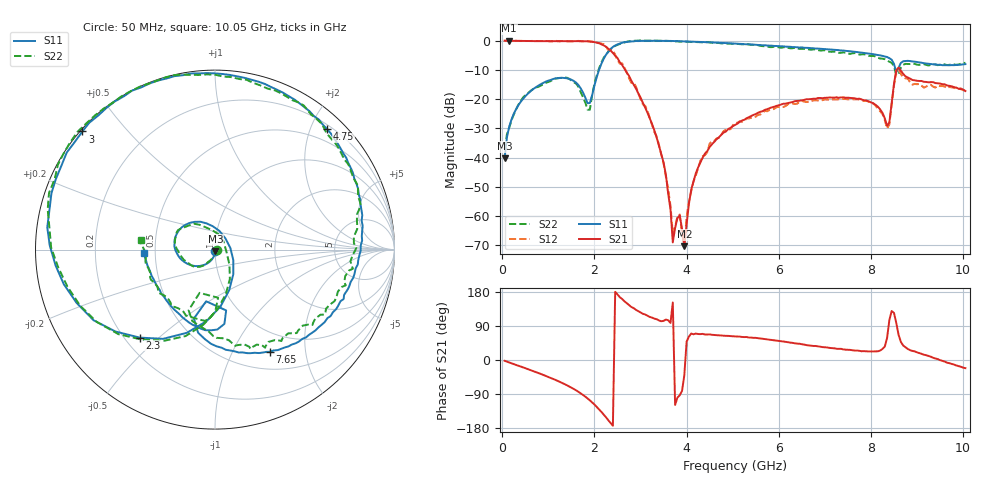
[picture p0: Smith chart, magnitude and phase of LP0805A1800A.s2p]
! AVX THIN FILM OPERATION
! 0805 Size Low Pass Filter P/N  LP0805A1800AWTR
! Network Analyzer HP8720ES.07.64: Feb 23, 2000 Serial No. US39172382
! Hewlett-Packard
!  2 Feb 2003  04:07:16
! Frequency  S11  S21  S12  S22
# HZ  S  DB R  50
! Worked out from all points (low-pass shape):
!   201 points, 50 MHz to 10.05 GHz, reference 50 ohm
!   highest |S21| = -0.02 dB at 150 MHz (marker M1); lowest = -70.3 dB at 3.95 GHz (marker M2)
!   |S21| within 3 dB of the highest: start of sweep to 2.322 GHz
!   lowest |S11| = -40.2 dB at 50 MHz (marker M3), VSWR 1.02, Z = 50.2 - j0.96 ohm
!   |S11| at or under -10 dB: start of sweep to 2.099 GHz; 8.537583 GHz to 8.573984 GHz (36.4 MHz wide, 0.425 % of centre)
!   |S22| runs from -37.1 to 0.1 dB; largest |S21 - S12| = 0.059
!   S11 on the Smith chart (normalised r, x): 50 MHz: 1.00, -0.02; 2.3 GHz: 0.26, -0.43; 3 GHz: 0.01, +0.38; 4.75 GHz: 0.27, +2.27; 7.65 GHz: 0.72, -1.41; 10.05 GHz: 0.43, -0.02
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5e7  -40.24 -79.6  -0.02 -2.1  -0.01 -2.2  -37.15 -12.7
1.5e8  -29.41 -97.7  -0.02 -6.6  -0.03 -6.4  -29.80 -99.1
1.15e9  -12.90 176.0  -0.15 -52.4  -0.01 -51.7  -13.00 172.9
1.75e9  -17.67 95.3  -0.18 -92.1  -0.23 -92.2  -19.33 97.5
1.9e9  -21.31 6.2  -0.29 -106.4  -0.26 -106.9  -23.62 -12.2
2.3e9  -3.80 -130.6  -2.75 -159.0  -3.22 -158.9  -3.78 -129.2
2.6e9  -0.71 178.5  -8.33 161.0  -7.74 162.1  -0.79 179.3
3e9  -0.09 138.3  -19.42 125.5  -20.05 120.8  0.07 139.4
3.4e9  -0.05 111.5  -35.93 104.4  -35.63 101.4  -0.04 111.7
3.55e9  -0.07 103.1  -45.84 106.7  -46.52 103.8  -0.02 103.1
3.7e9  -0.13 95.0  -68.97 151.8  -65.85 175.6  -0.20 95.4
3.85e9  -0.18 87.4  -59.74 -93.1  -59.47 -100.1  -0.31 87.2
3.95e9  -0.24 82.6  -70.27 -40.3  -70.04 -9.0  -0.35 81.7
4.05e9  -0.28 77.9  -55.78 61.9  -55.08 57.0  -0.41 77.2
4.2e9  -0.37 71.0  -45.31 69.8  -46.15 67.2  -0.46 69.4
4.75e9  -0.76 47.1  -32.26 64.5  -32.23 66.7  -0.93 46.3
5.05e9  -0.99 34.9  -28.81 62.2  -28.07 59.0  -1.09 32.7
6.75e9  -2.58 -29.9  -19.85 37.0  -20.45 37.6  -2.97 -30.1
7.65e9  -3.80 -61.9  -19.72 24.9  -20.02 23.5  -4.24 -62.9
8.4e9  -5.99 -96.5  -27.92 105.4  -28.65 104.6  -7.20 -100.4
8.6e9  -9.26 -79.6  -9.19 66.5  -9.69 59.2  -11.41 -86.3
1.005e10  -8.02 -177.0  -17.21 -21.5  -16.98 -16.6  -7.59 172.3
